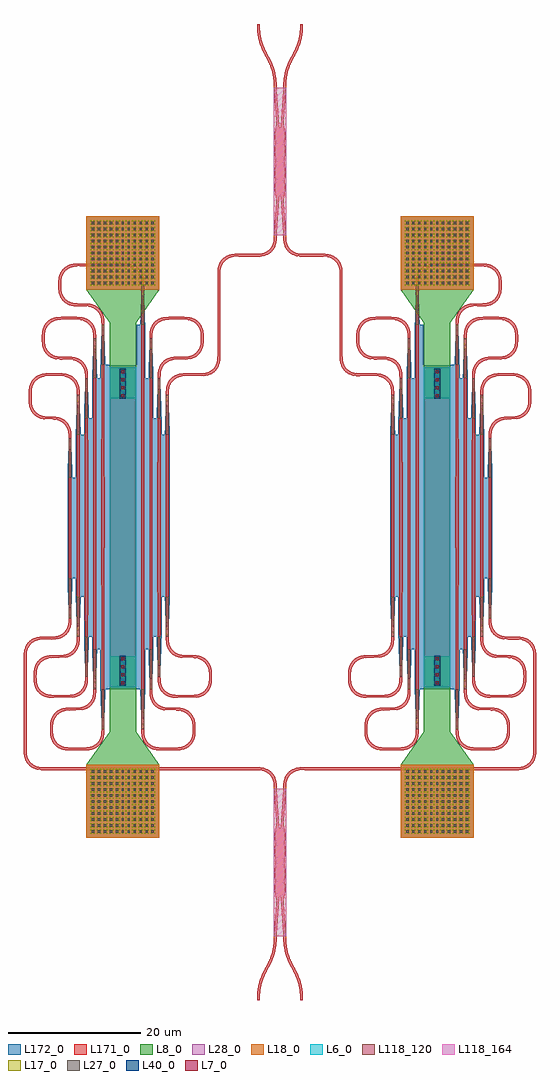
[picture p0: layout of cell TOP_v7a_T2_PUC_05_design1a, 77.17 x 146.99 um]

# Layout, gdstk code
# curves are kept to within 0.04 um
import gdstk
lib = gdstk.Library(unit=1e-6, precision=1e-09)
def R(c, l, rs):  # rectangles x0, y0, x1, y1
    for r in rs: c.add(gdstk.rectangle(r[:2], r[2:], *l))
def A(c, l, x, y, w, h, nx, ny, dx, dy):  # array of equal rectangles
    R(c, l, [(x+i*dx, y+j*dy, x+i*dx+w, y+j*dy+h) for i in range(nx) for j in range(ny)])
def P(c, l, *ps):  # polygons
    for p in ps: c.add(gdstk.Polygon(p, *l))
L6_0 = (6, 0)
L7_0 = (7, 0)
L8_0 = (8, 0)
L17_0 = (17, 0)
L18_0 = (18, 0)
L27_0 = (27, 0)
L28_0 = (28, 0)
L40_0 = (40, 0)
L118_120 = (118, 120)
L118_164 = (118, 164)
L171_0 = (171, 0)
L172_0 = (172, 0)

top_v7a_t2_puc_05_design = lib.new_cell('TOP_v7a_T2_PUC_05_design1a')
R(top_v7a_t2_puc_05_design, L6_0, [(-25.675,-26.39,-21.675,-26.29), (21.675,-26.39,25.675,-26.29), (-25.675,-26.29,-21.675,-22.29), (21.675,-26.29,25.675,-22.29), (-25.675,-22.29,-21.675,17.71), (21.675,-22.29,25.675,17.71), (-25.675,17.71,-21.675,21.71), (21.675,17.71,25.675,21.71), (-25.675,21.71,-21.675,21.81), (21.675,21.71,25.675,21.81)])
A(top_v7a_t2_puc_05_design, L7_0, -23.915, -25.94, 0.48, 0.48, 1, 4, 0, 1.2)
A(top_v7a_t2_puc_05_design, L7_0, 23.435, -25.94, 0.48, 0.48, 1, 4, 0, 1.2)
A(top_v7a_t2_puc_05_design, L7_0, -23.915, 17.28, 0.48, 0.48, 1, 4, 0, 1.2)
A(top_v7a_t2_puc_05_design, L7_0, 23.435, 17.28, 0.48, 0.48, 1, 4, 0, 1.2)
R(top_v7a_t2_puc_05_design, L8_0, [(-29.175,-49.09,-18.175,-38.09), (18.175,-49.09,29.175,-38.09), (-25.675,-33.09,-21.675,-26.09), (21.675,-33.09,25.675,-26.09), (-25.675,-26.09,-21.675,-21.71), (21.675,-26.09,25.675,-21.71), (-25.675,17.13,-21.675,21.51), (21.675,17.13,25.675,21.51), (-25.675,21.51,-21.675,28.51), (21.675,21.51,25.675,28.51), (-29.175,33.51,-18.175,44.51), (18.175,33.51,29.175,44.51)])
P(top_v7a_t2_puc_05_design, L8_0, [(21.675,28.51),(18.175,33.51),(29.175,33.51),(25.675,28.51)],
  [(18.175,-38.09),(21.675,-33.09),(25.675,-33.09),(29.175,-38.09)],
  [(-25.675,28.51),(-29.175,33.51),(-18.175,33.51),(-21.675,28.51)],
  [(-29.175,-38.09),(-25.675,-33.09),(-21.675,-33.09),(-18.175,-38.09)])
A(top_v7a_t2_puc_05_design, L17_0, -28.575, -48.49, 0.2, 0.2, 21, 21, 0.48, 0.48)
A(top_v7a_t2_puc_05_design, L17_0, 18.775, -48.49, 0.2, 0.2, 21, 21, 0.48, 0.48)
A(top_v7a_t2_puc_05_design, L17_0, -28.575, 34.11, 0.2, 0.2, 21, 21, 0.48, 0.48)
A(top_v7a_t2_puc_05_design, L17_0, 18.775, 34.11, 0.2, 0.2, 21, 21, 0.48, 0.48)
R(top_v7a_t2_puc_05_design, L18_0, [(-29.175,-49.09,-18.175,-38.09), (18.175,-49.09,29.175,-38.09), (-29.175,33.51,-18.175,44.51), (18.175,33.51,29.175,44.51)])
A(top_v7a_t2_puc_05_design, L27_0, -28.355, -48.27, 0.36, 0.36, 11, 11, 0.9, 0.9)
A(top_v7a_t2_puc_05_design, L27_0, 18.995, -48.27, 0.36, 0.36, 11, 11, 0.9, 0.9)
A(top_v7a_t2_puc_05_design, L27_0, -28.355, 34.33, 0.36, 0.36, 11, 11, 0.9, 0.9)
A(top_v7a_t2_puc_05_design, L27_0, 18.995, 34.33, 0.36, 0.36, 11, 11, 0.9, 0.9)
R(top_v7a_t2_puc_05_design, L28_0, [(-29.175,-49.09,-18.175,-38.09), (18.175,-49.09,29.175,-38.09), (-29.175,33.51,-18.175,44.51), (18.175,33.51,29.175,44.51)])
R(top_v7a_t2_puc_05_design, L40_0, [(-24.115,-26.14,-23.235,-21.66), (23.235,-26.14,24.115,-21.66), (-24.115,17.08,-23.235,21.56), (23.235,17.08,24.115,21.56)])
R(top_v7a_t2_puc_05_design, L118_120, [(-26.88,-32.686,-26.47,-26.665), (-20.88,-32.686,-20.47,-26.665), (20.47,-32.686,20.88,-26.665), (26.47,-32.686,26.88,-26.665), (-28.115,-26.686,-27.705,-20.665), (-19.645,-26.686,-19.235,-20.665), (19.235,-26.686,19.645,-20.665), (27.705,-26.686,28.115,-20.665), (-29.35,-24.776,-28.94,-18.755), (-18.41,-24.776,-18,-18.755), (18,-24.776,18.41,-18.755), (28.94,-24.776,29.35,-18.755), (-30.585,-18.776,-30.175,-12.755), (-17.175,-18.776,-16.765,-12.755), (16.765,-18.776,17.175,-12.755), (30.175,-18.776,30.585,-12.755), (-31.835,-15.997,-31.425,-9.976), (31.425,-15.997,31.835,-9.976), (-31.835,5.124,-31.425,11.145), (31.425,5.124,31.835,11.145), (-30.585,11.645,-30.175,17.666), (-17.175,11.645,-16.765,17.666), (16.765,11.645,17.175,17.666), (30.175,11.645,30.585,17.666), (-29.35,14.145,-28.94,20.166), (-18.41,14.145,-18,20.166), (18,14.145,18.41,20.166), (28.94,14.145,29.35,20.166), (-28.115,20.145,-27.705,26.166), (-19.645,20.145,-19.235,26.166), (19.235,20.145,19.645,26.166), (27.705,20.145,28.115,26.166), (-26.88,22.172,-26.47,28.193), (26.47,22.172,26.88,28.193), (-20.88,28.172,-20.47,34.193), (20.47,28.172,20.88,34.193)])
R(top_v7a_t2_puc_05_design, L118_164, [(-0.91,-63.865,0.91,-41.665), (-0.91,41.666,0.91,63.866)])
R(top_v7a_t2_puc_05_design, L171_0, [(-35.38,-38.87,-3.705,-38.46), (3.705,-38.87,35.38,-38.46), (-38.585,-35.665,-38.175,-34.665), (38.175,-35.665,38.585,-34.665), (-25.575,-26.19,-21.775,-22.29), (21.775,-26.19,25.575,-22.29), (-25.575,-22.29,-21.775,17.71), (21.775,-22.29,25.575,17.71), (-26.88,11.645,-26.47,22.172), (-20.88,11.645,-20.47,28.172), (20.47,11.645,20.88,28.172), (26.47,11.645,26.88,22.172), (-25.575,17.71,-21.775,21.61), (21.775,17.71,25.575,21.61), (-26.88,22.172,-26.47,28.193), (26.47,22.172,26.88,28.193), (-20.88,28.172,-20.47,34.193), (20.47,28.172,20.88,34.193), (-9.41,28.666,-9,35.666), (9,28.666,9.41,35.666), (-30.175,30.988,-29.675,31.398), (29.675,30.988,30.175,31.398), (-30.175,36.988,-23.675,37.398), (23.675,36.988,30.175,37.398), (-6.205,38.461,-3.705,38.871), (3.705,38.461,6.205,38.871)])
P(top_v7a_t2_puc_05_design, L171_0, [(15.772,-35.892),(14.937,-35.841),(14.353,-35.685),(13.787,-35.372),(13.32,-34.925),(13.029,-34.471),(12.816,-33.855),(12.742,-33.244),(12.745,-32.072),(12.841,-31.408),(13.029,-30.901),(13.389,-30.364),(13.831,-29.968),(14.353,-29.687),(14.937,-29.531),(17.175,-29.455),(17.961,-29.247),(18.433,-28.944),(18.839,-28.492),(19.09,-27.989),(19.209,-27.421),(19.209,26.901),(19.09,27.469),(18.839,27.972),(18.433,28.424),(17.918,28.747),(17.514,28.881),(16.98,28.95),(14.312,28.956),(13.402,28.816),(13.018,28.64),(12.642,28.361),(12.36,28.048),(12.124,27.644),(11.99,27.24),(11.921,26.706),(11.921,25.626),(12.014,24.997),(12.28,24.399),(12.677,23.939),(13.142,23.625),(13.679,23.441),(16.098,23.336),(16.64,23.22),(17.085,23.027),(17.607,22.644),(18.011,22.14),(18.275,21.549),(18.392,20.892),(18.455,4.953),(18.407,-25.223),(18.29,-26.108),(17.983,-26.795),(17.444,-27.396),(16.742,-27.794),(15.763,-27.974),(13.191,-27.981),(12.467,-27.931),(11.783,-27.733),(11.108,-27.291),(10.609,-26.656),(10.346,-25.945),(10.264,-24.944),(10.288,-23.994),(10.416,-23.341),(10.722,-22.711),(11.189,-22.19),(11.685,-21.865),(12.356,-21.641),(12.912,-21.578),(14.705,-21.545),(15.448,-21.357),(15.89,-21.093),(16.287,-20.696),(16.551,-20.254),(16.713,-19.705),(16.765,-18.825),(16.765,17.715),(16.713,18.595),(16.551,19.144),(16.228,19.659),(15.776,20.065),(15.273,20.316),(14.51,20.45),(11.423,20.484),(10.77,20.612),(10.231,20.86),(9.69,21.304),(9.294,21.881),(9.081,22.497),(9.003,23.219),(9,28.666),(9.41,28.666),(9.424,23.078),(9.555,22.363),(9.888,21.746),(10.478,21.216),(11.179,20.941),(11.812,20.876),(14.584,20.861),(15.139,20.79),(15.657,20.623),(16.166,20.32),(16.624,19.862),(16.969,19.253),(17.125,18.669),(17.176,17.834),(17.176,-18.944),(17.125,-19.779),(16.969,-20.363),(16.688,-20.885),(16.292,-21.327),(15.755,-21.687),(15.302,-21.861),(14.752,-21.958),(12.541,-22.033),(11.992,-22.195),(11.55,-22.459),(11.125,-22.894),(10.82,-23.473),(10.701,-24.041),(10.676,-24.972),(10.755,-25.85),(11.045,-26.543),(11.588,-27.121),(12.301,-27.467),(13.274,-27.57),(16.037,-27.533),(16.81,-27.295),(17.125,-27.093),(17.463,-26.769),(17.702,-26.422),(17.883,-25.99),(17.999,-24.972),(17.955,-9.563),(17.989,20.706),(17.896,21.335),(17.702,21.812),(17.336,22.297),(16.932,22.616),(16.508,22.816),(16.037,22.923),(13.979,22.979),(13.168,23.148),(12.686,23.388),(12.303,23.688),(11.987,24.057),(11.748,24.479),(11.535,25.273),(11.5,26.445),(11.57,27.28),(11.794,27.951),(12.227,28.568),(12.778,29),(13.427,29.265),(14.258,29.368),(17.054,29.361),(17.609,29.29),(18.127,29.123),(18.721,28.752),(19.158,28.275),(19.494,27.601),(19.622,26.948),(19.645,-26.965),(19.575,-27.8),(19.351,-28.471),(18.991,-29.008),(18.459,-29.464),(17.977,-29.704),(17.388,-29.849),(15.4,-29.902),(14.866,-29.971),(14.253,-30.212),(13.713,-30.658),(13.359,-31.208),(13.171,-31.951),(13.159,-33.274),(13.306,-34.033),(13.541,-34.492),(13.877,-34.881),(14.253,-35.16),(14.726,-35.364),(15.547,-35.476),(18.215,-35.47),(18.978,-35.336),(19.668,-34.944),(20.149,-34.373),(20.418,-33.615),(20.47,-32.735),(20.425,-2.563),(20.47,11.645),(20.88,11.645),(20.925,-2.563),(20.857,-33.468),(20.729,-34.121),(20.423,-34.751),(19.997,-35.237),(19.46,-35.597),(19.007,-35.771),(18.401,-35.873)],
  [(29.507,-35.892),(28.782,-35.856),(28.292,-35.756),(27.795,-35.547),(27.353,-35.237),(26.989,-34.839),(26.718,-34.373),(26.551,-33.855),(26.48,-33.3),(26.425,-2.563),(26.47,11.645),(26.88,11.645),(26.925,2.453),(26.88,-32.735),(26.932,-33.615),(27.201,-34.373),(27.682,-34.944),(28.372,-35.336),(29.135,-35.47),(31.803,-35.476),(32.624,-35.364),(33.097,-35.16),(33.473,-34.881),(33.809,-34.492),(34.044,-34.033),(34.191,-33.274),(34.179,-31.951),(33.991,-31.208),(33.637,-30.658),(33.097,-30.212),(32.484,-29.971),(31.95,-29.902),(29.962,-29.849),(29.373,-29.704),(28.891,-29.464),(28.359,-29.008),(27.999,-28.471),(27.775,-27.8),(27.705,-26.965),(27.728,26.948),(27.856,27.601),(28.192,28.275),(28.629,28.752),(29.223,29.123),(29.741,29.29),(30.296,29.361),(33.259,29.361),(33.977,29.251),(34.619,28.972),(35.16,28.528),(35.556,27.951),(35.78,27.28),(35.85,26.445),(35.815,25.273),(35.602,24.479),(35.363,24.057),(35.047,23.688),(34.664,23.388),(34.182,23.148),(33.371,22.979),(31.313,22.923),(30.842,22.816),(30.458,22.64),(30.014,22.297),(29.671,21.853),(29.454,21.335),(29.364,20.754),(29.376,-25.511),(29.454,-25.945),(29.604,-26.339),(29.828,-26.696),(30.152,-27.034),(30.842,-27.426),(31.752,-27.566),(34.42,-27.56),(35.227,-27.41),(35.686,-27.175),(36.138,-26.769),(36.461,-26.254),(36.623,-25.705),(36.674,-24.58),(36.595,-23.702),(36.354,-23.089),(35.943,-22.581),(35.443,-22.235),(34.906,-22.051),(32.487,-21.946),(32.048,-21.861),(31.595,-21.687),(31.058,-21.327),(30.662,-20.885),(30.381,-20.363),(30.225,-19.779),(30.174,-18.944),(30.174,17.834),(30.256,18.835),(30.574,19.64),(30.829,19.988),(31.184,20.32),(31.945,20.72),(32.933,20.868),(35.523,20.836),(36.317,20.623),(37.032,20.144),(37.348,19.775),(37.587,19.353),(37.729,18.944),(37.817,18.392),(37.8,16.252),(37.684,15.71),(37.408,15.126),(36.826,14.491),(36.065,14.091),(35.356,13.958),(33.701,13.888),(32.943,13.619),(32.499,13.276),(32.205,12.912),(31.98,12.448),(31.873,11.977),(31.84,-16.39),(31.915,-17.071),(32.089,-17.56),(32.435,-18.06),(32.903,-18.447),(33.327,-18.647),(33.798,-18.754),(36.106,-18.81),(36.917,-18.979),(37.399,-19.219),(37.782,-19.519),(38.128,-19.932),(38.398,-20.46),(38.535,-20.994),(38.585,-21.718),(38.585,-34.665),(38.175,-34.665),(38.174,-21.801),(38.123,-21.068),(37.997,-20.606),(37.805,-20.23),(37.511,-19.866),(37.147,-19.572),(36.683,-19.347),(35.92,-19.213),(33.682,-19.16),(33.093,-19.015),(32.611,-18.775),(32.079,-18.319),(31.719,-17.782),(31.506,-17.166),(31.428,-16.444),(31.424,11.313),(31.467,12.093),(31.612,12.682),(31.882,13.21),(32.228,13.623),(32.703,13.979),(33.195,14.199),(33.627,14.3),(35.218,14.364),(35.889,14.481),(36.55,14.828),(37.029,15.339),(37.264,15.798),(37.387,16.313),(37.411,18.254),(37.345,18.74),(37.211,19.144),(36.975,19.548),(36.693,19.861),(36.108,20.247),(35.365,20.435),(33.184,20.46),(32.306,20.381),(31.693,20.14),(31.185,19.729),(30.839,19.229),(30.637,18.595),(30.585,17.715),(30.586,-18.972),(30.646,-19.754),(30.839,-20.339),(31.185,-20.839),(31.693,-21.25),(32.077,-21.426),(32.596,-21.539),(34.494,-21.581),(35.158,-21.677),(35.807,-21.942),(36.358,-22.374),(36.791,-22.991),(37.015,-23.662),(37.085,-24.497),(37.035,-25.779),(36.879,-26.363),(36.534,-26.972),(36.076,-27.43),(35.567,-27.733),(35.049,-27.9),(34.494,-27.971),(31.977,-27.982),(30.813,-27.861),(30.36,-27.687),(29.949,-27.43),(29.594,-27.098),(29.284,-26.656),(29.091,-26.211),(28.982,-25.724),(28.895,-9.563),(28.975,21.059),(29.127,21.703),(29.427,22.275),(29.823,22.717),(30.36,23.077),(30.813,23.251),(31.363,23.348),(33.574,23.423),(34.123,23.585),(34.565,23.849),(34.962,24.246),(35.244,24.731),(35.388,25.237),(35.439,25.97),(35.402,26.998),(35.226,27.644),(34.84,28.229),(34.291,28.663),(33.814,28.857),(33.185,28.95),(30.078,28.923),(29.305,28.685),(28.99,28.483),(28.652,28.159),(28.26,27.469),(28.12,26.559),(28.129,-27.274),(28.232,-27.9),(28.46,-28.413),(28.847,-28.881),(29.347,-29.227),(29.741,-29.377),(30.175,-29.455),(31.968,-29.488),(32.579,-29.562),(33.195,-29.775),(33.732,-30.135),(34.158,-30.621),(34.464,-31.251),(34.592,-31.904),(34.616,-32.854),(34.545,-33.8),(34.321,-34.471),(33.888,-35.088),(33.337,-35.52),(32.793,-35.756),(32.192,-35.868)],
  [(20.47,34.193),(20.493,34.975),(20.605,35.576),(20.841,36.12),(21.197,36.595),(21.656,36.971),(22.24,37.247),(22.893,37.375),(23.675,37.398),(23.675,36.988),(22.94,36.962),(22.416,36.857),(21.948,36.643),(21.544,36.324),(21.225,35.92),(21.011,35.452),(20.906,34.928),(20.88,34.193)],
  [(32.97,34.193),(32.944,34.928),(32.866,35.362),(32.694,35.798),(32.433,36.186),(31.981,36.592),(31.478,36.843),(30.91,36.962),(30.175,36.988),(30.175,37.398),(30.957,37.375),(31.61,37.247),(32.24,36.941),(32.726,36.515),(33.174,35.78),(33.357,34.975),(33.38,34.193)],
  [(30.287,30.987),(30.175,30.988),(30.175,31.398),(30.91,31.424),(31.434,31.529),(31.902,31.743),(32.306,32.062),(32.625,32.466),(32.839,32.934),(32.944,33.458),(32.97,34.193),(33.38,34.193),(33.357,33.411),(33.245,32.81),(33.009,32.266),(32.653,31.791),(32.194,31.415),(31.61,31.139),(31.068,31.023)],
  [(26.47,28.193),(26.493,28.975),(26.605,29.576),(26.841,30.12),(27.197,30.595),(27.656,30.971),(28.24,31.247),(28.893,31.375),(29.675,31.398),(29.675,30.988),(28.94,30.962),(28.416,30.857),(27.948,30.643),(27.544,30.324),(27.225,29.92),(27.011,29.452),(26.906,28.928),(26.88,28.193)],
  [(21.775,21.61),(21.798,21.674),(21.875,21.71),(25.475,21.71),(25.539,21.687),(25.575,21.61)],
  [(21.875,-26.29),(21.811,-26.267),(21.775,-26.19),(25.575,-26.19),(25.552,-26.254),(25.475,-26.29)],
  [(-17.843,-35.892),(-18.568,-35.856),(-19.058,-35.756),(-19.555,-35.547),(-19.997,-35.237),(-20.361,-34.839),(-20.632,-34.373),(-20.799,-33.855),(-20.87,-33.3),(-20.925,-2.563),(-20.88,11.645),(-20.47,11.645),(-20.425,2.453),(-20.47,-32.735),(-20.418,-33.615),(-20.149,-34.373),(-19.668,-34.944),(-18.978,-35.336),(-18.215,-35.47),(-15.547,-35.476),(-14.726,-35.364),(-14.253,-35.16),(-13.877,-34.881),(-13.541,-34.492),(-13.306,-34.033),(-13.159,-33.274),(-13.171,-31.951),(-13.359,-31.208),(-13.713,-30.658),(-14.253,-30.212),(-14.866,-29.971),(-15.4,-29.902),(-17.388,-29.849),(-17.977,-29.704),(-18.459,-29.464),(-18.991,-29.008),(-19.351,-28.471),(-19.575,-27.8),(-19.645,-26.965),(-19.622,26.948),(-19.494,27.601),(-19.158,28.275),(-18.721,28.752),(-18.127,29.123),(-17.609,29.29),(-17.054,29.361),(-14.091,29.361),(-13.373,29.251),(-12.731,28.972),(-12.19,28.528),(-11.794,27.951),(-11.57,27.28),(-11.5,26.445),(-11.535,25.273),(-11.748,24.479),(-11.987,24.057),(-12.303,23.688),(-12.686,23.388),(-13.168,23.148),(-13.979,22.979),(-16.037,22.923),(-16.508,22.816),(-16.892,22.64),(-17.336,22.297),(-17.679,21.853),(-17.896,21.335),(-17.986,20.754),(-17.986,-25.364),(-17.92,-25.85),(-17.786,-26.254),(-17.336,-26.907),(-17.011,-27.175),(-16.64,-27.375),(-16.231,-27.501),(-15.745,-27.56),(-12.93,-27.56),(-12.123,-27.41),(-11.664,-27.175),(-11.212,-26.769),(-10.889,-26.254),(-10.727,-25.705),(-10.676,-24.58),(-10.755,-23.702),(-10.996,-23.089),(-11.407,-22.581),(-11.907,-22.235),(-12.444,-22.051),(-14.863,-21.946),(-15.302,-21.861),(-15.755,-21.687),(-16.292,-21.327),(-16.688,-20.885),(-16.969,-20.363),(-17.125,-19.779),(-17.176,-18.944),(-17.172,18.113),(-17.069,18.944),(-16.804,19.593),(-16.372,20.144),(-15.755,20.577),(-15.302,20.751),(-14.696,20.853),(-11.812,20.876),(-11.179,20.941),(-10.478,21.216),(-9.888,21.746),(-9.555,22.363),(-9.424,23.078),(-9.41,28.666),(-9,28.666),(-9.018,22.94),(-9.151,22.231),(-9.519,21.513),(-9.803,21.188),(-10.186,20.888),(-10.618,20.667),(-11.036,20.542),(-11.758,20.464),(-14.558,20.447),(-15.044,20.381),(-15.533,20.207),(-16.033,19.861),(-16.444,19.353),(-16.685,18.74),(-16.76,18.059),(-16.765,-18.825),(-16.713,-19.705),(-16.551,-20.254),(-16.287,-20.696),(-15.89,-21.093),(-15.448,-21.357),(-14.705,-21.545),(-12.912,-21.578),(-12.301,-21.652),(-11.685,-21.865),(-11.148,-22.225),(-10.692,-22.757),(-10.385,-23.444),(-10.275,-24.162),(-10.275,-25.39),(-10.346,-25.945),(-10.513,-26.463),(-10.752,-26.885),(-11.068,-27.254),(-11.451,-27.554),(-11.883,-27.775),(-12.356,-27.911),(-12.912,-27.974),(-15.763,-27.974),(-16.319,-27.911),(-16.792,-27.775),(-17.401,-27.43),(-17.859,-26.972),(-18.204,-26.363),(-18.36,-25.779),(-18.411,-24.944),(-18.455,-9.563),(-18.375,21.059),(-18.223,21.703),(-17.923,22.275),(-17.527,22.717),(-16.99,23.077),(-16.537,23.251),(-16.098,23.336),(-13.679,23.441),(-13.142,23.625),(-12.712,23.908),(-12.306,24.36),(-12.055,24.863),(-11.936,25.431),(-11.911,26.362),(-11.99,27.24),(-12.306,27.972),(-12.574,28.297),(-12.899,28.565),(-13.631,28.881),(-14.509,28.96),(-17.369,28.909),(-17.787,28.8),(-18.167,28.616),(-18.785,28.048),(-19.131,27.335),(-19.234,26.362),(-19.209,-27.421),(-19.09,-27.989),(-18.839,-28.492),(-18.433,-28.944),(-18.003,-29.227),(-17.609,-29.377),(-17.175,-29.455),(-15.382,-29.488),(-14.826,-29.551),(-14.253,-29.729),(-13.744,-30.032),(-13.286,-30.49),(-12.983,-30.999),(-12.785,-31.683),(-12.735,-32.407),(-12.758,-33.468),(-12.922,-34.223),(-13.286,-34.882),(-13.831,-35.404),(-14.403,-35.704),(-15.047,-35.856)],
  [(-31.578,-35.892),(-32.524,-35.821),(-33.195,-35.597),(-33.812,-35.164),(-34.244,-34.613),(-34.495,-34.018),(-34.608,-33.244),(-34.592,-31.904),(-34.409,-31.099),(-34.158,-30.621),(-33.812,-30.208),(-33.429,-29.908),(-32.947,-29.668),(-32.136,-29.499),(-29.981,-29.429),(-29.563,-29.32),(-29.143,-29.111),(-28.683,-28.714),(-28.369,-28.249),(-28.195,-27.76),(-28.12,-27.079),(-28.12,26.559),(-28.232,27.38),(-28.593,28.086),(-29.223,28.64),(-29.981,28.909),(-30.714,28.96),(-33.185,28.95),(-33.814,28.857),(-34.291,28.663),(-34.84,28.229),(-35.226,27.644),(-35.402,26.998),(-35.439,25.97),(-35.388,25.237),(-35.244,24.731),(-34.962,24.246),(-34.565,23.849),(-34.123,23.585),(-33.574,23.423),(-31.363,23.348),(-30.813,23.251),(-30.36,23.077),(-29.823,22.717),(-29.427,22.275),(-29.127,21.703),(-28.975,21.059),(-28.895,-9.563),(-28.982,-25.724),(-29.091,-26.211),(-29.284,-26.656),(-29.594,-27.098),(-29.949,-27.43),(-30.36,-27.687),(-30.813,-27.861),(-31.977,-27.982),(-34.494,-27.971),(-35.049,-27.9),(-35.567,-27.733),(-36.076,-27.43),(-36.534,-26.972),(-36.879,-26.363),(-37.035,-25.779),(-37.085,-24.497),(-37.015,-23.662),(-36.791,-22.991),(-36.358,-22.374),(-35.807,-21.942),(-35.158,-21.677),(-34.494,-21.581),(-32.596,-21.539),(-32.077,-21.426),(-31.693,-21.25),(-31.185,-20.839),(-30.839,-20.339),(-30.646,-19.754),(-30.586,-18.972),(-30.585,17.715),(-30.637,18.595),(-30.839,19.229),(-31.185,19.729),(-31.693,20.14),(-32.306,20.381),(-33.184,20.46),(-35.365,20.435),(-36.108,20.247),(-36.693,19.861),(-36.975,19.548),(-37.211,19.144),(-37.345,18.74),(-37.411,18.254),(-37.387,16.313),(-37.264,15.798),(-37.029,15.339),(-36.55,14.828),(-35.889,14.481),(-35.218,14.364),(-33.627,14.3),(-33.195,14.199),(-32.703,13.979),(-32.228,13.623),(-31.882,13.21),(-31.612,12.682),(-31.467,12.093),(-31.424,11.313),(-31.428,-16.444),(-31.506,-17.166),(-31.719,-17.782),(-32.079,-18.319),(-32.611,-18.775),(-33.093,-19.015),(-33.682,-19.16),(-35.92,-19.213),(-36.683,-19.347),(-37.147,-19.572),(-37.511,-19.866),(-37.805,-20.23),(-37.997,-20.606),(-38.123,-21.068),(-38.174,-21.801),(-38.175,-34.665),(-38.585,-34.665),(-38.585,-21.718),(-38.535,-20.994),(-38.398,-20.46),(-38.158,-19.978),(-37.858,-19.595),(-37.445,-19.249),(-36.917,-18.979),(-36.106,-18.81),(-33.798,-18.754),(-33.327,-18.647),(-32.903,-18.447),(-32.435,-18.06),(-32.089,-17.56),(-31.915,-17.071),(-31.84,-16.39),(-31.873,11.977),(-31.98,12.448),(-32.205,12.912),(-32.499,13.276),(-32.943,13.619),(-33.701,13.888),(-35.356,13.958),(-36.065,14.091),(-36.826,14.491),(-37.408,15.126),(-37.684,15.71),(-37.8,16.252),(-37.817,18.392),(-37.729,18.944),(-37.587,19.353),(-37.348,19.775),(-37.032,20.144),(-36.317,20.623),(-35.523,20.836),(-32.933,20.868),(-31.945,20.72),(-31.184,20.32),(-30.829,19.988),(-30.574,19.64),(-30.256,18.835),(-30.174,17.834),(-30.174,-18.944),(-30.225,-19.779),(-30.381,-20.363),(-30.662,-20.885),(-31.058,-21.327),(-31.595,-21.687),(-32.048,-21.861),(-32.487,-21.946),(-34.906,-22.051),(-35.443,-22.235),(-35.943,-22.581),(-36.354,-23.089),(-36.595,-23.702),(-36.674,-24.58),(-36.623,-25.705),(-36.461,-26.254),(-36.138,-26.769),(-35.686,-27.175),(-35.227,-27.41),(-34.42,-27.56),(-31.752,-27.566),(-30.842,-27.426),(-30.152,-27.034),(-29.828,-26.696),(-29.604,-26.339),(-29.454,-25.945),(-29.376,-25.511),(-29.364,20.754),(-29.454,21.335),(-29.671,21.853),(-30.014,22.297),(-30.458,22.64),(-30.842,22.816),(-31.313,22.923),(-33.371,22.979),(-34.182,23.148),(-34.664,23.388),(-35.047,23.688),(-35.363,24.057),(-35.602,24.479),(-35.815,25.273),(-35.85,26.445),(-35.78,27.28),(-35.556,27.951),(-35.123,28.568),(-34.572,29),(-33.923,29.265),(-33.092,29.368),(-30.296,29.361),(-29.741,29.29),(-29.223,29.123),(-28.629,28.752),(-28.192,28.275),(-27.856,27.601),(-27.728,26.948),(-27.705,-26.965),(-27.775,-27.8),(-27.999,-28.471),(-28.359,-29.008),(-28.891,-29.464),(-29.373,-29.704),(-29.962,-29.849),(-31.95,-29.902),(-32.484,-29.971),(-33.097,-30.212),(-33.637,-30.658),(-33.991,-31.208),(-34.179,-31.951),(-34.191,-33.274),(-34.044,-34.033),(-33.809,-34.492),(-33.473,-34.881),(-33.097,-35.16),(-32.624,-35.364),(-31.803,-35.476),(-29.135,-35.47),(-28.372,-35.336),(-27.682,-34.944),(-27.201,-34.373),(-26.932,-33.615),(-26.88,-32.735),(-26.925,-2.563),(-26.88,11.645),(-26.47,11.645),(-26.425,-2.563),(-26.493,-33.468),(-26.621,-34.121),(-26.927,-34.751),(-27.353,-35.237),(-27.89,-35.597),(-28.343,-35.771),(-28.949,-35.873)],
  [(-20.88,34.193),(-20.906,34.928),(-20.984,35.362),(-21.156,35.798),(-21.417,36.186),(-21.869,36.592),(-22.372,36.843),(-22.94,36.962),(-23.675,36.988),(-23.675,37.398),(-22.893,37.375),(-22.24,37.247),(-21.61,36.941),(-21.124,36.515),(-20.676,35.78),(-20.493,34.975),(-20.47,34.193)],
  [(-33.38,34.193),(-33.357,34.975),(-33.245,35.576),(-33.009,36.12),(-32.653,36.595),(-32.194,36.971),(-31.61,37.247),(-30.957,37.375),(-30.175,37.398),(-30.175,36.988),(-30.91,36.962),(-31.434,36.857),(-31.902,36.643),(-32.306,36.324),(-32.625,35.92),(-32.839,35.452),(-32.944,34.928),(-32.97,34.193)],
  [(-30.343,30.987),(-31.068,31.023),(-31.61,31.139),(-32.194,31.415),(-32.653,31.791),(-33.009,32.266),(-33.245,32.81),(-33.357,33.411),(-33.38,34.193),(-32.97,34.193),(-32.944,33.458),(-32.839,32.934),(-32.625,32.466),(-32.306,32.062),(-31.902,31.743),(-31.434,31.529),(-30.91,31.424),(-30.175,31.398),(-30.175,30.988)],
  [(-26.88,28.193),(-26.906,28.928),(-26.984,29.362),(-27.156,29.798),(-27.417,30.186),(-27.869,30.592),(-28.372,30.843),(-28.94,30.962),(-29.675,30.988),(-29.675,31.398),(-28.893,31.375),(-28.24,31.247),(-27.61,30.941),(-27.124,30.515),(-26.676,29.78),(-26.493,28.975),(-26.47,28.193)],
  [(-25.575,21.61),(-25.552,21.674),(-25.475,21.71),(-21.875,21.71),(-21.811,21.687),(-21.775,21.61)],
  [(-25.475,-26.29),(-25.539,-26.267),(-25.575,-26.19),(-21.775,-26.19),(-21.798,-26.254),(-21.875,-26.29)],
  [(-0.91,-63.865),(-0.536,-58.675),(-0.731,-57.572),(-0.792,-56.52),(-0.728,-53.206),(-0.79,-48.899),(-0.731,-47.958),(-0.537,-46.801),(-0.91,-41.665),(-0.5,-41.665),(-0.144,-47.237),(-0.095,-47.531),(0,-47.637),(0.095,-47.531),(0.144,-47.237),(0.5,-41.665),(0.91,-41.665),(0.536,-46.855),(0.731,-47.958),(0.792,-49.01),(0.728,-52.324),(0.79,-56.631),(0.731,-57.572),(0.537,-58.729),(0.91,-63.865),(0.5,-63.865),(0.144,-58.293),(0.095,-57.999),(0,-57.893),(-0.095,-57.999),(-0.144,-58.293),(-0.5,-63.865)],
  [(-0.91,41.666),(-0.536,46.856),(-0.731,47.959),(-0.792,49.011),(-0.728,52.325),(-0.79,56.632),(-0.731,57.573),(-0.537,58.73),(-0.91,63.866),(-0.5,63.866),(-0.144,58.294),(-0.095,58),(0,57.894),(0.095,58),(0.144,58.294),(0.5,63.866),(0.91,63.866),(0.536,58.676),(0.731,57.573),(0.792,56.521),(0.728,53.207),(0.79,48.9),(0.731,47.959),(0.537,46.802),(0.91,41.666),(0.5,41.666),(0.144,47.238),(0.095,47.532),(0,47.638),(-0.095,47.532),(-0.144,47.238),(-0.5,41.666)],
  [(3.05,-73.495),(2.96,-72.047),(2.681,-70.758),(2.261,-69.679),(1.212,-67.589),(0.801,-66.417),(0.581,-65.267),(0.5,-63.865),(0.91,-63.865),(1,-65.313),(1.279,-66.602),(1.699,-67.681),(2.748,-69.771),(3.159,-70.943),(3.379,-72.093),(3.46,-73.495)],
  [(-3.46,-73.495),(-3.355,-71.915),(-3.061,-70.604),(-2.675,-69.608),(-1.648,-67.57),(-1.279,-66.602),(-1,-65.313),(-0.91,-63.865),(-0.5,-63.865),(-0.605,-65.445),(-0.899,-66.756),(-1.285,-67.752),(-2.312,-69.79),(-2.681,-70.758),(-2.96,-72.047),(-3.05,-73.495)],
  [(0.5,63.866),(0.605,65.446),(0.899,66.757),(1.285,67.753),(2.312,69.791),(2.681,70.759),(2.96,72.048),(3.05,73.496),(3.46,73.496),(3.355,71.916),(3.061,70.605),(2.675,69.609),(1.648,67.571),(1.279,66.603),(1,65.314),(0.91,63.866)],
  [(-0.91,63.866),(-1,65.314),(-1.279,66.603),(-1.699,67.682),(-2.748,69.772),(-3.159,70.944),(-3.379,72.094),(-3.46,73.496),(-3.05,73.496),(-2.96,72.048),(-2.681,70.759),(-2.261,69.68),(-1.212,67.59),(-0.801,66.418),(-0.581,65.268),(-0.5,63.866)],
  [(0.5,-41.665),(0.523,-40.883),(0.635,-40.282),(0.871,-39.738),(1.227,-39.263),(1.686,-38.887),(2.27,-38.611),(2.923,-38.483),(3.705,-38.46),(3.705,-38.87),(2.97,-38.896),(2.446,-39.001),(1.978,-39.215),(1.574,-39.534),(1.255,-39.938),(1.041,-40.406),(0.936,-40.93),(0.91,-41.665)],
  [(35.492,-38.871),(35.38,-38.87),(35.38,-38.46),(36.115,-38.434),(36.639,-38.329),(37.107,-38.115),(37.511,-37.796),(37.83,-37.392),(38.044,-36.924),(38.149,-36.4),(38.175,-35.665),(38.585,-35.665),(38.562,-36.447),(38.45,-37.048),(38.214,-37.592),(37.858,-38.067),(37.399,-38.443),(36.815,-38.719),(36.273,-38.835)],
  [(-0.91,-41.665),(-0.936,-40.93),(-1.014,-40.496),(-1.186,-40.06),(-1.447,-39.672),(-1.899,-39.266),(-2.402,-39.015),(-2.97,-38.896),(-3.705,-38.87),(-3.705,-38.46),(-2.923,-38.483),(-2.27,-38.611),(-1.64,-38.917),(-1.154,-39.343),(-0.706,-40.078),(-0.523,-40.883),(-0.5,-41.665)],
  [(-35.548,-38.871),(-36.273,-38.835),(-36.815,-38.719),(-37.399,-38.443),(-37.858,-38.067),(-38.214,-37.592),(-38.45,-37.048),(-38.562,-36.447),(-38.585,-35.665),(-38.175,-35.665),(-38.149,-36.4),(-38.044,-36.924),(-37.83,-37.392),(-37.511,-37.796),(-37.107,-38.115),(-36.639,-38.329),(-36.115,-38.434),(-35.38,-38.46),(-35.38,-38.87)],
  [(3.537,38.46),(2.812,38.496),(2.27,38.612),(1.686,38.888),(1.227,39.264),(0.871,39.739),(0.635,40.283),(0.523,40.884),(0.5,41.666),(0.91,41.666),(0.936,40.931),(1.041,40.407),(1.255,39.939),(1.574,39.535),(1.978,39.216),(2.446,39.002),(2.97,38.897),(3.705,38.871),(3.705,38.461)],
  [(9,35.666),(8.974,36.401),(8.896,36.835),(8.724,37.271),(8.463,37.659),(8.011,38.065),(7.508,38.316),(6.94,38.435),(6.205,38.461),(6.205,38.871),(6.987,38.848),(7.64,38.72),(8.27,38.414),(8.756,37.988),(9.204,37.253),(9.387,36.448),(9.41,35.666)],
  [(-3.593,38.46),(-3.705,38.461),(-3.705,38.871),(-2.97,38.897),(-2.446,39.002),(-1.978,39.216),(-1.574,39.535),(-1.255,39.939),(-1.041,40.407),(-0.936,40.931),(-0.91,41.666),(-0.5,41.666),(-0.523,40.884),(-0.635,40.283),(-0.871,39.739),(-1.227,39.264),(-1.686,38.888),(-2.27,38.612),(-2.812,38.496)],
  [(-9.41,35.666),(-9.387,36.448),(-9.275,37.049),(-9.039,37.593),(-8.683,38.068),(-8.224,38.444),(-7.64,38.72),(-6.987,38.848),(-6.205,38.871),(-6.205,38.461),(-6.94,38.435),(-7.464,38.33),(-7.932,38.116),(-8.336,37.797),(-8.655,37.393),(-8.869,36.925),(-8.974,36.401),(-9,35.666)])
R(top_v7a_t2_puc_05_design, L172_0, [(-26.05,-26.665,-21.3,-21.915), (21.3,-26.665,26.05,-21.915), (-26.05,-22.665,-21.3,18.085), (21.3,-22.665,26.05,18.085), (-27.037,11.645,-25.787,22.172), (-21.563,11.645,-20.313,28.172), (20.313,11.645,21.563,28.172), (25.787,11.645,27.037,22.172), (-26.05,17.335,-21.3,22.085), (21.3,17.335,26.05,22.085)])
P(top_v7a_t2_puc_05_design, L172_0, [(20.47,-31.085),(20.313,-26.731),(20.313,-20.665),(19.802,-20.665),(19.645,-25.085),(19.235,-25.085),(19.086,-21.105),(19.078,-18.755),(18.567,-18.755),(18.41,-23.175),(18,-23.175),(17.843,-18.821),(17.843,-12.755),(17.332,-12.755),(17.175,-17.175),(16.765,-17.175),(16.612,-13.026),(16.608,11.711),(16.764,16.053),(17.175,16.065),(17.332,11.645),(17.843,11.645),(17.847,14.416),(18,18.565),(18.41,18.565),(18.567,14.145),(19.078,14.145),(19.078,20.211),(19.235,24.565),(19.645,24.565),(19.802,20.145),(20.328,20.145),(20.328,11.645),(21.563,11.645),(21.563,-26.665),(21.037,-26.665),(20.88,-31.085)],
  [(26.47,-31.085),(26.313,-26.665),(25.787,-26.665),(25.787,11.645),(27.022,11.645),(27.022,20.145),(27.548,20.145),(27.705,24.565),(28.115,24.565),(28.272,20.211),(28.272,14.145),(28.783,14.145),(28.94,18.565),(29.35,18.565),(29.503,14.416),(29.507,11.645),(30.018,11.645),(30.175,16.065),(30.585,16.065),(30.742,11.711),(30.742,5.124),(31.268,5.124),(31.425,9.544),(31.835,9.544),(31.992,5.19),(31.974,-10.784),(31.835,-14.396),(31.425,-14.396),(31.268,-9.976),(30.742,-9.976),(30.738,-13.026),(30.585,-17.175),(30.175,-17.175),(30.018,-12.755),(29.507,-12.755),(29.507,-18.821),(29.35,-23.175),(28.94,-23.175),(28.783,-18.755),(28.272,-18.755),(28.264,-21.105),(28.115,-25.085),(27.705,-25.085),(27.548,-20.665),(27.037,-20.665),(27.037,-26.731),(26.881,-31.073)],
  [(20.325,28.172),(20.47,32.592),(20.88,32.592),(21.025,28.172)],
  [(26.325,22.172),(26.47,26.592),(26.88,26.592),(27.025,22.172)],
  [(-20.88,-31.085),(-21.037,-26.665),(-21.563,-26.665),(-21.563,11.645),(-20.328,11.645),(-20.328,20.145),(-19.802,20.145),(-19.645,24.565),(-19.235,24.565),(-19.078,20.211),(-19.078,14.145),(-18.567,14.145),(-18.41,18.565),(-18,18.565),(-17.847,14.416),(-17.843,11.645),(-17.332,11.645),(-17.175,16.065),(-16.764,16.053),(-16.608,11.711),(-16.626,-13.563),(-16.765,-17.175),(-17.175,-17.175),(-17.332,-12.755),(-17.843,-12.755),(-17.843,-18.821),(-18,-23.175),(-18.41,-23.175),(-18.567,-18.755),(-19.078,-18.755),(-19.086,-21.105),(-19.235,-25.085),(-19.645,-25.085),(-19.802,-20.665),(-20.313,-20.665),(-20.313,-26.731),(-20.469,-31.073)],
  [(-26.88,-31.085),(-27.037,-26.731),(-27.037,-20.665),(-27.548,-20.665),(-27.705,-25.085),(-28.115,-25.085),(-28.264,-21.105),(-28.272,-18.755),(-28.783,-18.755),(-28.94,-23.175),(-29.35,-23.175),(-29.507,-18.821),(-29.507,-12.755),(-30.018,-12.755),(-30.175,-17.175),(-30.585,-17.175),(-30.738,-13.026),(-30.742,-9.976),(-31.268,-9.976),(-31.425,-14.396),(-31.835,-14.396),(-31.988,-10.247),(-31.992,5.19),(-31.835,9.544),(-31.425,9.544),(-31.268,5.124),(-30.742,5.124),(-30.742,11.711),(-30.585,16.065),(-30.175,16.065),(-30.018,11.645),(-29.507,11.645),(-29.503,14.416),(-29.35,18.565),(-28.94,18.565),(-28.783,14.145),(-28.272,14.145),(-28.272,20.211),(-28.115,24.565),(-27.705,24.565),(-27.548,20.145),(-27.022,20.145),(-27.022,11.645),(-25.787,11.645),(-25.787,-26.665),(-26.313,-26.665),(-26.47,-31.085)],
  [(-21.025,28.172),(-20.88,32.592),(-20.47,32.592),(-20.325,28.172)],
  [(-27.025,22.172),(-26.88,26.592),(-26.47,26.592),(-26.325,22.172)])

lib.write_gds('TOP_v7a_T2_PUC_05_design1a.gds')
